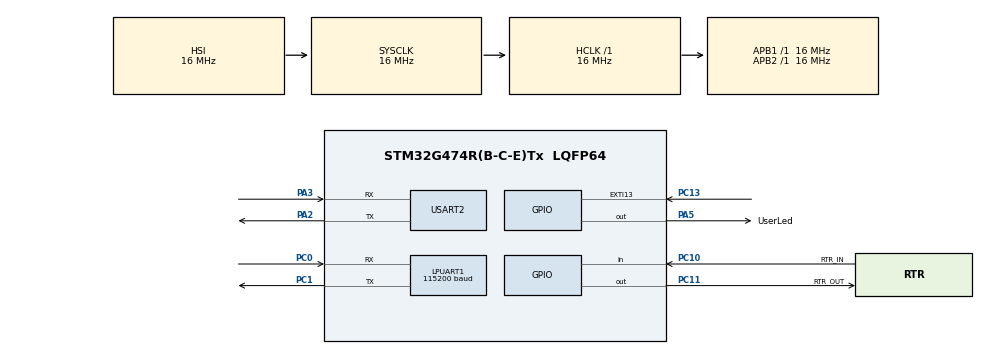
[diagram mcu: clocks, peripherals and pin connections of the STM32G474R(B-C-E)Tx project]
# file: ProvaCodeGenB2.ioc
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LPUART1.BaudRate=115200
Mcu.Family=STM32G4
Mcu.Name=STM32G474R(B-C-E)Tx
Mcu.Package=LQFP64
NVIC.LPUART1_IRQn=true\:0\:0\:false\:false\:true\:true\:true\:true
NVIC.PriorityGroup=NVIC_PRIORITYGROUP_4
NVIC.USART2_IRQn=true\:0\:0\:false\:false\:true\:true\:true\:true
PA2.Mode=Asynchronous
PA2.Signal=USART2_TX
PA3.Mode=Asynchronous
PA3.Signal=USART2_RX
PA5.GPIO_Label=UserLed
PA5.Signal=GPIO_Output
PC0.Mode=Asynchronous
PC0.Signal=LPUART1_RX
PC1.Mode=Asynchronous
PC1.Signal=LPUART1_TX
PC10.GPIO_Label=RTR_IN
PC10.GPIO_PuPd=GPIO_PULLDOWN
PC10.Signal=GPIO_Input
PC11.GPIO_Label=RTR_OUT
PC11.Signal=GPIO_Output
PC13.Signal=GPXTI13
ProjectManager.HeapSize=0x200
ProjectManager.StackSize=0x400
ProjectManager.TargetToolchain=STM32CubeIDE
RCC.AHBFreq_Value=16000000
RCC.APB1Freq_Value=16000000
RCC.APB1TimFreq_Value=16000000
RCC.APB2Freq_Value=16000000
RCC.APB2TimFreq_Value=16000000
RCC.CortexFreq_Value=16000000
RCC.EXTERNAL_CLOCK_VALUE=12288000
RCC.HCLKFreq_Value=16000000
RCC.HSE_VALUE=8000000
RCC.HSI48_VALUE=48000000
RCC.HSI_VALUE=16000000
RCC.LSE_VALUE=32768
RCC.SYSCLKFreq_VALUE=16000000
RCC.USBFreq_Value=64000000
RCC.VCOOutputFreq_Value=128000000
USART2.VirtualMode-Asynchronous=VM_ASYNC
VP_SYS_VS_DBSignals.Mode=DisableDeadBatterySignals
board=custom

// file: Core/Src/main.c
/* USER CODE BEGIN Header */
/* PROVA COD GEN B2 */
/**
 ******************************************************************************
 * @file           : main.c
 * @brief          : Main program body
 ******************************************************************************
 * @attention
 *
 * Copyright (c) 2025 STMicroelectronics.
 * All rights reserved.
 *
 * This software is licensed under terms that can be found in the LICENSE file
 * in the root directory of this software component.
 * If no LICENSE file comes with this software, it is provided AS-IS.
 *
 ******************************************************************************
 */
/* USER CODE END Header */
#include "main.h"
#include "usart.h"
#include "gpio.h"

/* USER CODE BEGIN Includes */
#include "Board2.h"
#include "sensors.h"
#include "decision.h"
#include "print.h"
/* USER CODE END Includes */

/* USER CODE BEGIN PD */
#define Board2_IN_Execution            ((uint8_T)2U)

/* USER CODE END PD */

/* USER CODE BEGIN PV */
/* Block states (default storage) */
extern DW_Board2_T Board2_DW;

/* External inputs (root inport signals with default storage) */
extern ExtU_Board2_T Board2_U;

/* External outputs (root outports fed by signals with default storage) */
extern ExtY_Board2_T Board2_Y;

uint8_t rxBuff[64];

/* USER CODE END PV */

void SystemClock_Config(void);

int main(void)
{

  /* MCU Configuration--------------------------------------------------------*/

  /* Reset of all peripherals, Initializes the Flash interface and the Systick. */
  HAL_Init();

  /* Configure the system clock */
  SystemClock_Config();

  /* Initialize all configured peripherals */
  MX_GPIO_Init();
  MX_LPUART1_UART_Init();
  MX_USART2_UART_Init();
  /* USER CODE BEGIN 2 */
	clearScreen();
	printMsg("PROVA COD GEN B22\r\n");

	  uint8_t flagStampa = 1;

	// Coming from Sensors
	Board2_U.sonar = (BUS_Sonar ) { 500, 500, 500 };
	Board2_U.gyroscope = (Gyroscope) 40.0f;
	Board2_U.remoteController = (BUS_RemoteController) {13, 13, 13};

	// Coming from ModelAction
	Board2_Y.roverAction = RA_IDLE;
	Board2_Y.safeAction = RA_IDLE;
	Board2_Y.setPoint = (BUS_SetPoint ) { 15.0f, 17.0f };

	// Continua
	Board2_U.continua = 0;

	Board2_initialize();

  /* USER CODE END 2 */

  /* Infinite loop */
	while (1) {

    /* USER CODE BEGIN 3 */

		Board2_step();

		if (flagStampa == 1) {
			if (Board2_DW.is_ExchangeDecision == Board2_IN_Execution) {
				printGlobalState(&Board2_B.board2GlobalState);
				printDecision(&Board2_DW.board2Decision);
				flagStampa = 0;
			}
		}
	}
  /* USER CODE END 3 */
}

void SystemClock_Config(void)
{
  RCC_OscInitTypeDef RCC_OscInitStruct = {0};
  RCC_ClkInitTypeDef RCC_ClkInitStruct = {0};

  /** Configure the main internal regulator output voltage
  */
  HAL_PWREx_ControlVoltageScaling(PWR_REGULATOR_VOLTAGE_SCALE1);

  /** Initializes the RCC Oscillators according to the specified parameters
  * in the RCC_OscInitTypeDef structure.
  */
  RCC_OscInitStruct.OscillatorType = RCC_OSCILLATORTYPE_HSI;
  RCC_OscInitStruct.HSIState = RCC_HSI_ON;
  RCC_OscInitStruct.HSICalibrationValue = RCC_HSICALIBRATION_DEFAULT;
  RCC_OscInitStruct.PLL.PLLState = RCC_PLL_NONE;
  if (HAL_RCC_OscConfig(&RCC_OscInitStruct) != HAL_OK)
  {
    Error_Handler();
  }

  /** Initializes the CPU, AHB and APB buses clocks
  */
  RCC_ClkInitStruct.ClockType = RCC_CLOCKTYPE_HCLK|RCC_CLOCKTYPE_SYSCLK
                              |RCC_CLOCKTYPE_PCLK1|RCC_CLOCKTYPE_PCLK2;
  RCC_ClkInitStruct.SYSCLKSource = RCC_SYSCLKSOURCE_HSI;
  RCC_ClkInitStruct.AHBCLKDivider = RCC_SYSCLK_DIV1;
  RCC_ClkInitStruct.APB1CLKDivider = RCC_HCLK_DIV1;
  RCC_ClkInitStruct.APB2CLKDivider = RCC_HCLK_DIV1;

  if (HAL_RCC_ClockConfig(&RCC_ClkInitStruct, FLASH_LATENCY_0) != HAL_OK)
  {
    Error_Handler();
  }
}

/* USER CODE BEGIN 4 */
void HAL_UART_ErrorCallback(UART_HandleTypeDef *huart) {
	if (huart->Instance == LPUART1) {

		uint32_t err = huart->ErrorCode;

		printMsg("UART ERROR: ");

		if (err & HAL_UART_ERROR_ORE) {
			printMsg("ORE ");
		}
		if (err & HAL_UART_ERROR_FE) {
			printMsg("FE ");
		}
		if (err & HAL_UART_ERROR_NE) {
			printMsg("NE ");
		}
		if (err & HAL_UART_ERROR_PE) {
			printMsg("PE ");
		}

		printMsg("\r\n");

		// --- recovery minimo indispensabile ---
		__HAL_UART_CLEAR_OREFLAG(huart);
		__HAL_UART_CLEAR_FEFLAG(huart);
		__HAL_UART_CLEAR_NEFLAG(huart);
		__HAL_UART_CLEAR_PEFLAG(huart);

		HAL_UART_AbortReceive_IT(huart);
	}
}
/* USER CODE END 4 */

void Error_Handler(void)
{
	__disable_irq();
	while (1) {
	}
}
